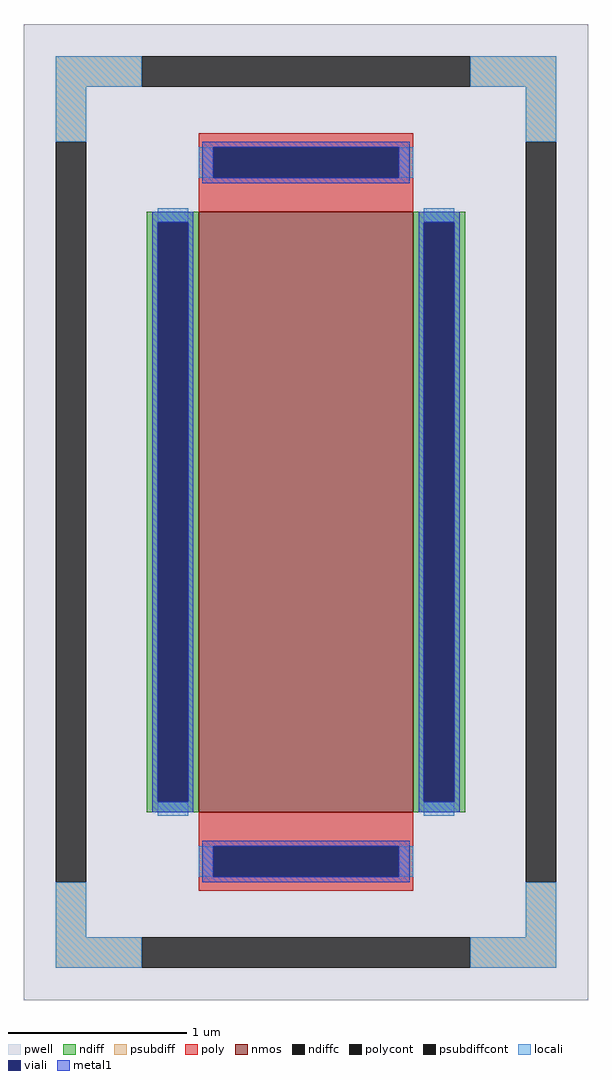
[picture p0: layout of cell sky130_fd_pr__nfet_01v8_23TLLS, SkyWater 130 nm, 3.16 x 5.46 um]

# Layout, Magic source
magic
tech sky130A
<< pwell >>
rect -156 -273 160 273
<< nmos >>
rect -58 -168 62 168
<< ndiff >>
rect -87 162 -58 168
rect -87 -162 -81 162
rect -64 -162 -58 162
rect -87 -168 -58 -162
rect 62 162 91 168
rect 62 -162 68 162
rect 85 -162 91 162
rect 62 -168 91 -162
<< ndiffc >>
rect -81 -162 -64 162
rect 68 -162 85 162
<< psubdiff >>
rect -138 238 -90 255
rect 94 238 142 255
rect -138 207 -121 238
rect 125 207 142 238
rect -138 -238 -121 -207
rect 125 -238 142 -207
rect -138 -255 -90 -238
rect 94 -255 142 -238
<< psubdiffcont >>
rect -90 238 94 255
rect -138 -207 -121 207
rect 125 -207 142 207
rect -90 -255 94 -238
<< poly >>
rect -58 204 62 212
rect -58 187 -50 204
rect 54 187 62 204
rect -58 168 62 187
rect -58 -187 62 -168
rect -58 -204 -50 -187
rect 54 -204 62 -187
rect -58 -212 62 -204
<< polycont >>
rect -50 187 54 204
rect -50 -204 54 -187
<< locali >>
rect -138 238 -90 255
rect 94 238 142 255
rect -138 207 -121 238
rect 125 207 142 238
rect -58 187 -50 204
rect 54 187 62 204
rect -81 162 -64 170
rect -81 -170 -64 -162
rect 68 162 85 170
rect 68 -170 85 -162
rect -58 -204 -50 -187
rect 54 -204 62 -187
rect -138 -238 -121 -207
rect 125 -238 142 -207
rect -138 -255 -90 -238
rect 94 -255 142 -238
<< viali >>
rect -50 187 54 204
rect -81 -162 -64 162
rect 68 -162 85 162
rect -50 -204 54 -187
<< metal1 >>
rect -56 204 60 207
rect -56 187 -50 204
rect 54 187 60 204
rect -56 184 60 187
rect -84 162 -61 168
rect -84 -162 -81 162
rect -64 -162 -61 162
rect -84 -168 -61 -162
rect 65 162 88 168
rect 65 -162 68 162
rect 85 -162 88 162
rect 65 -168 88 -162
rect -56 -187 60 -184
rect -56 -204 -50 -187
rect 54 -204 60 -187
rect -56 -207 60 -204
<< properties >>
string FIXED_BBOX -129 -246 133 246
string gencell sky130_fd_pr__nfet_01v8
string library sky130
string parameters w 3.36 l 1.2 m 1 nf 1 diffcov 100 polycov 100 guard 1 glc 1 grc 1 gtc 1 gbc 1 tbcov 100 rlcov 100 topc 1 botc 1 poverlap 0 doverlap 1 lmin 0.15 wmin 0.42 compatible {sky130_fd_pr__nfet_01v8 sky130_fd_pr__nfet_01v8_lvt  sky130_fd_bs_flash__special_sonosfet_star  sky130_fd_pr__nfet_g5v0d10v5 sky130_fd_pr__nfet_05v0_nvt  sky130_fd_pr__nfet_03v3_nvt} full_metal 1 viasrc 100 viadrn 100 viagate 100 viagb 0 viagr 0 viagl 0 viagt 0
<< end >>
